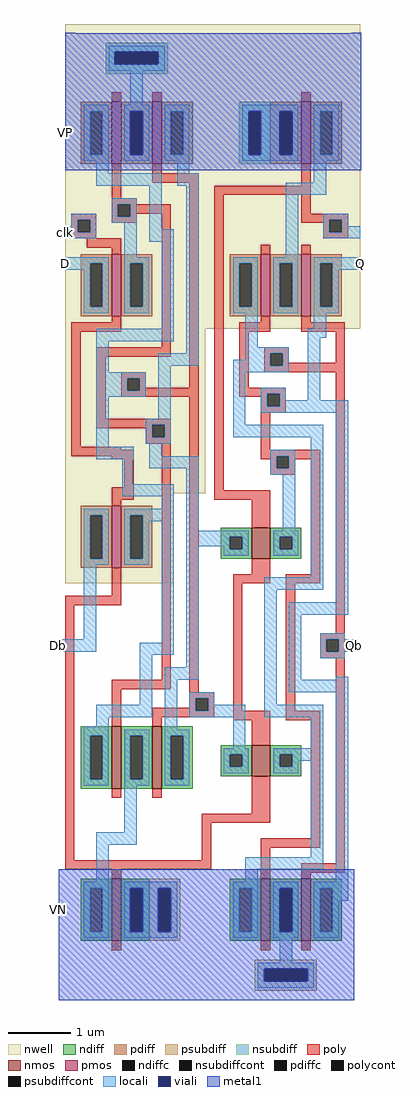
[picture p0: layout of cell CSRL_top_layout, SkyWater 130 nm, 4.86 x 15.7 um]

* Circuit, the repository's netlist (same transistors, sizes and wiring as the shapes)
* SPICE3 file created from CSRL_top_layout.ext - technology: sky130A

.subckt CSRL D Db clk Qb Q VP VN
X0 VN clk a_n100_n950# VN sky130_fd_pr__nfet_01v8 ad=9.5e+11p pd=5.9e+06u as=1e+12p ps=6e+06u w=1e+06u l=150000u
X1 a_n100_n460# clk Db VP sky130_fd_pr__pfet_01v8 ad=1e+12p pd=6e+06u as=5e+11p ps=3e+06u w=1e+06u l=150000u
X2 VN Q Qb VN sky130_fd_pr__nfet_01v8 ad=0p pd=0u as=7.5e+11p ps=5e+06u w=1e+06u l=150000u
X3 a_n50_700# clk D VP sky130_fd_pr__pfet_01v8 ad=1e+12p pd=6e+06u as=5e+11p ps=3e+06u w=1e+06u l=150000u
X4 a_510_1060# Q Qb VP sky130_fd_pr__pfet_01v8 ad=1e+12p pd=6e+06u as=5e+11p ps=3e+06u w=1e+06u l=150000u
X5 a_510_1060# clk VP VP sky130_fd_pr__pfet_01v8 ad=0p pd=0u as=1e+12p ps=6e+06u w=1e+06u l=150000u
X6 a_n100_n950# a_n50_700# a_n100_n460# VN sky130_fd_pr__nfet_01v8 ad=0p pd=0u as=7.5e+11p ps=5e+06u w=1e+06u l=150000u
X7 a_n50_700# a_n100_n460# VP VP sky130_fd_pr__pfet_01v8 ad=0p pd=0u as=0p ps=0u w=1e+06u l=150000u
X8 Q Qb VN VN sky130_fd_pr__nfet_01v8 ad=7.5e+11p pd=5e+06u as=0p ps=0u w=1e+06u l=150000u
X9 Q clk a_n50_700# VN sky130_fd_pr__nfet_01v8 ad=0p pd=0u as=7.5e+11p ps=5e+06u w=500000u l=300000u
X10 Q Qb a_510_1060# VP sky130_fd_pr__pfet_01v8 ad=5e+11p pd=3e+06u as=0p ps=0u w=1e+06u l=150000u
X11 a_n50_700# a_n100_n460# a_n100_n950# VN sky130_fd_pr__nfet_01v8 ad=0p pd=0u as=0p ps=0u w=1e+06u l=150000u
X12 Qb clk a_n100_n460# VN sky130_fd_pr__nfet_01v8 ad=0p pd=0u as=0p ps=0u w=500000u l=300000u
X13 VP a_n50_700# a_n100_n460# VP sky130_fd_pr__pfet_01v8 ad=0p pd=0u as=0p ps=0u w=1e+06u l=150000u
.ends


* Top level circuit CSRL_top_layout

XCSRL_0 D Db clk Qb Q VP VN CSRL
.end

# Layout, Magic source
magic
tech sky130A
<< locali >>
rect 15 1225 25 1245
rect 15 1175 45 1195
rect 465 1175 490 1195
rect 5 560 30 580
rect 465 560 480 580
<< metal1 >>
rect 15 1335 35 1445
rect 5 95 35 195
use CSRL  CSRL_0 ~/Documents/Mini_Project_2/CSRL/layout
transform 1 0 90 0 1 570
box -85 -570 401 1000
<< labels >>
rlabel metal1 5 145 5 145 7 VN
rlabel locali 5 570 5 570 7 Db
rlabel locali 15 1185 15 1185 7 D
rlabel locali 15 1235 15 1235 7 clk
rlabel metal1 15 1395 15 1395 7 VP
rlabel locali 490 1185 490 1185 3 Q
rlabel locali 480 570 480 570 3 Qb
<< end >>

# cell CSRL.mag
magic
tech sky130A
<< nwell >>
rect -75 986 400 1000
rect -75 765 401 986
rect -75 510 400 765
rect -75 245 150 510
rect -75 100 100 245
<< nmos >>
rect 225 140 255 190
rect 0 -230 15 -130
rect 65 -230 80 -130
rect 225 -210 255 -160
rect 0 -475 15 -375
rect 240 -475 255 -375
rect 305 -475 320 -375
<< pmos >>
rect 0 775 15 875
rect 65 775 80 875
rect 305 775 320 875
rect 0 530 15 630
rect 0 125 15 225
rect 240 530 255 630
rect 305 530 320 630
<< ndiff >>
rect 175 175 225 190
rect 175 155 190 175
rect 210 155 225 175
rect 175 140 225 155
rect 255 175 305 190
rect 255 155 270 175
rect 290 155 305 175
rect 255 140 305 155
rect -50 -145 0 -130
rect -50 -215 -35 -145
rect -15 -215 0 -145
rect -50 -230 0 -215
rect 15 -145 65 -130
rect 15 -215 30 -145
rect 50 -215 65 -145
rect 15 -230 65 -215
rect 80 -145 130 -130
rect 80 -215 95 -145
rect 115 -215 130 -145
rect 175 -175 225 -160
rect 175 -195 190 -175
rect 210 -195 225 -175
rect 175 -210 225 -195
rect 255 -175 305 -160
rect 255 -195 270 -175
rect 290 -195 305 -175
rect 255 -210 305 -195
rect 80 -230 130 -215
rect -50 -390 0 -375
rect -50 -460 -35 -390
rect -15 -460 0 -390
rect -50 -475 0 -460
rect 15 -390 60 -375
rect 15 -460 30 -390
rect 50 -460 60 -390
rect 15 -475 60 -460
rect 190 -390 240 -375
rect 190 -460 205 -390
rect 225 -460 240 -390
rect 190 -475 240 -460
rect 255 -390 305 -375
rect 255 -460 270 -390
rect 290 -460 305 -390
rect 255 -475 305 -460
rect 320 -390 370 -375
rect 320 -460 335 -390
rect 355 -460 370 -390
rect 320 -475 370 -460
<< pdiff >>
rect -50 860 0 875
rect -50 790 -35 860
rect -15 790 0 860
rect -50 775 0 790
rect 15 860 65 875
rect 15 790 30 860
rect 50 790 65 860
rect 15 775 65 790
rect 80 860 130 875
rect 80 790 95 860
rect 115 790 130 860
rect 80 775 130 790
rect 255 860 305 875
rect 255 790 270 860
rect 290 790 305 860
rect 255 775 305 790
rect 320 860 370 875
rect 320 790 335 860
rect 355 790 370 860
rect 320 775 370 790
rect -50 615 0 630
rect -50 545 -35 615
rect -15 545 0 615
rect -50 530 0 545
rect 15 615 65 630
rect 15 545 30 615
rect 50 545 65 615
rect 15 530 65 545
rect -50 210 0 225
rect -50 140 -35 210
rect -15 140 0 210
rect -50 125 0 140
rect 15 210 65 225
rect 15 140 30 210
rect 50 140 65 210
rect 15 125 65 140
rect 190 615 240 630
rect 190 545 205 615
rect 225 545 240 615
rect 190 530 240 545
rect 255 615 305 630
rect 255 545 270 615
rect 290 545 305 615
rect 255 530 305 545
rect 320 615 370 630
rect 320 545 335 615
rect 355 545 370 615
rect 320 530 370 545
<< ndiffc >>
rect 190 155 210 175
rect 270 155 290 175
rect -35 -215 -15 -145
rect 30 -215 50 -145
rect 95 -215 115 -145
rect 190 -195 210 -175
rect 270 -195 290 -175
rect -35 -460 -15 -390
rect 30 -460 50 -390
rect 205 -460 225 -390
rect 270 -460 290 -390
rect 335 -460 355 -390
<< pdiffc >>
rect -35 790 -15 860
rect 30 790 50 860
rect 95 790 115 860
rect 270 790 290 860
rect 335 790 355 860
rect -35 545 -15 615
rect 30 545 50 615
rect -35 140 -15 210
rect 30 140 50 210
rect 205 545 225 615
rect 270 545 290 615
rect 335 545 355 615
<< psubdiff >>
rect 60 -390 110 -375
rect 60 -460 75 -390
rect 95 -460 110 -390
rect 60 -475 110 -460
rect 230 -520 330 -505
rect 230 -540 245 -520
rect 315 -540 330 -520
rect 230 -555 330 -540
<< nsubdiff >>
rect -10 955 90 970
rect -10 935 5 955
rect 75 935 90 955
rect -10 920 90 935
rect 205 860 255 875
rect 205 790 220 860
rect 240 790 255 860
rect 205 775 255 790
<< psubdiffcont >>
rect 75 -460 95 -390
rect 245 -540 315 -520
<< nsubdiffcont >>
rect 5 935 75 955
rect 220 790 240 860
<< poly >>
rect 0 875 15 890
rect 65 875 80 890
rect 305 875 320 890
rect 0 720 15 775
rect 65 760 80 775
rect 65 745 140 760
rect 0 710 40 720
rect -65 685 -25 695
rect -65 665 -55 685
rect -35 665 -25 685
rect 0 690 10 710
rect 30 695 95 710
rect 30 690 40 695
rect 0 680 40 690
rect -65 655 -25 665
rect -40 640 15 655
rect 0 630 15 640
rect 0 520 15 530
rect -65 505 15 520
rect -65 320 -50 505
rect 80 480 95 695
rect -25 465 95 480
rect -25 365 -10 465
rect 15 430 55 440
rect 15 410 25 430
rect 45 415 55 430
rect 125 415 140 745
rect 305 740 320 775
rect 45 410 140 415
rect 15 400 140 410
rect -25 355 95 365
rect -25 350 65 355
rect 55 335 65 350
rect 85 335 95 355
rect 55 325 95 335
rect -65 315 15 320
rect -65 305 35 315
rect 0 300 35 305
rect 20 255 35 300
rect 0 235 35 255
rect 0 225 15 235
rect 0 80 15 125
rect -75 65 15 80
rect -75 -345 -60 65
rect 80 -55 95 325
rect 0 -70 95 -55
rect 0 -130 15 -70
rect 125 -75 140 400
rect 165 725 320 740
rect 165 250 180 725
rect 305 695 320 725
rect 305 685 380 695
rect 305 680 350 685
rect 340 665 350 680
rect 370 665 380 685
rect 340 655 380 665
rect 240 630 255 645
rect 305 630 320 645
rect 240 520 255 530
rect 205 505 255 520
rect 305 520 320 530
rect 305 505 375 520
rect 205 415 220 505
rect 245 470 285 480
rect 245 450 255 470
rect 275 455 285 470
rect 360 455 375 505
rect 275 450 375 455
rect 245 440 375 450
rect 205 405 280 415
rect 205 400 250 405
rect 240 385 250 400
rect 270 385 280 405
rect 240 375 280 385
rect 240 315 255 375
rect 240 305 335 315
rect 240 300 265 305
rect 255 285 265 300
rect 285 300 335 305
rect 285 285 295 300
rect 255 275 295 285
rect 165 235 255 250
rect 225 190 255 235
rect 225 115 255 140
rect 320 115 335 300
rect 195 100 255 115
rect 280 100 335 115
rect 125 -85 165 -75
rect 125 -100 135 -85
rect 65 -105 135 -100
rect 155 -105 165 -85
rect 65 -115 165 -105
rect 195 -105 210 100
rect 280 -105 295 100
rect 360 20 375 440
rect 335 10 375 20
rect 335 -10 345 10
rect 365 -10 375 10
rect 335 -20 375 -10
rect 65 -130 80 -115
rect 195 -120 255 -105
rect 280 -120 335 -105
rect 225 -160 255 -120
rect 0 -245 15 -230
rect 65 -245 80 -230
rect 225 -270 255 -210
rect 145 -285 255 -270
rect 145 -345 160 -285
rect 320 -310 335 -120
rect -75 -360 160 -345
rect 240 -325 335 -310
rect 0 -375 15 -360
rect 240 -375 255 -325
rect 360 -350 375 -20
rect 305 -365 375 -350
rect 305 -375 320 -365
rect 0 -490 15 -475
rect 240 -490 255 -475
rect 305 -490 320 -475
<< polycont >>
rect -55 665 -35 685
rect 10 690 30 710
rect 25 410 45 430
rect 65 335 85 355
rect 350 665 370 685
rect 255 450 275 470
rect 250 385 270 405
rect 265 285 285 305
rect 135 -105 155 -85
rect 345 -10 365 10
<< locali >>
rect -5 955 85 965
rect -5 935 5 955
rect 75 935 85 955
rect -5 925 85 935
rect 30 870 50 925
rect -45 860 -5 870
rect -45 790 -35 860
rect -15 790 -5 860
rect -45 780 -5 790
rect 20 860 60 870
rect 20 790 30 860
rect 50 790 60 860
rect 20 780 60 790
rect 85 860 125 870
rect 85 790 95 860
rect 115 790 125 860
rect 85 780 125 790
rect 210 860 300 870
rect 210 790 220 860
rect 240 790 270 860
rect 290 790 300 860
rect 210 780 300 790
rect 325 860 365 870
rect 325 790 335 860
rect 355 790 365 860
rect 325 780 365 790
rect -25 760 -5 780
rect 105 760 125 780
rect -25 740 80 760
rect 105 740 140 760
rect 325 745 345 780
rect 0 710 40 720
rect -65 685 -25 695
rect -65 675 -55 685
rect -75 665 -55 675
rect -35 665 -25 685
rect 0 690 10 710
rect 30 690 40 710
rect 0 680 40 690
rect -75 655 -25 665
rect 20 625 40 680
rect 60 670 80 740
rect 60 650 100 670
rect -75 615 -5 625
rect -75 605 -35 615
rect -45 545 -35 605
rect -15 545 -5 615
rect -45 535 -5 545
rect 20 615 60 625
rect 20 545 30 615
rect 50 545 60 615
rect 20 535 60 545
rect 80 510 100 650
rect -25 490 100 510
rect -25 440 -5 490
rect 120 470 140 740
rect 280 725 345 745
rect 280 625 300 725
rect 340 685 380 695
rect 340 665 350 685
rect 370 675 380 685
rect 370 665 400 675
rect 340 655 400 665
rect 195 615 235 625
rect 195 545 205 615
rect 225 545 235 615
rect 195 535 235 545
rect 260 615 300 625
rect 260 545 270 615
rect 290 545 300 615
rect 260 535 300 545
rect 325 615 400 625
rect 325 545 335 615
rect 355 605 400 615
rect 355 545 365 605
rect 325 535 365 545
rect 75 450 140 470
rect 215 480 235 535
rect 325 510 345 535
rect 315 495 345 510
rect 215 470 285 480
rect 215 460 255 470
rect 195 450 255 460
rect 275 450 285 470
rect -25 430 55 440
rect -25 410 25 430
rect 45 410 55 430
rect -25 400 55 410
rect -25 320 -5 400
rect 75 365 95 450
rect 55 355 95 365
rect 55 335 65 355
rect 85 335 95 355
rect 195 440 285 450
rect 195 355 215 440
rect 240 405 280 415
rect 240 385 250 405
rect 270 395 280 405
rect 315 395 335 495
rect 270 385 380 395
rect 240 375 380 385
rect 195 335 340 355
rect 55 325 95 335
rect -25 300 35 320
rect 60 305 80 325
rect 255 305 295 315
rect 17 260 34 300
rect 60 285 140 305
rect 17 240 100 260
rect 80 220 100 240
rect -45 210 -5 220
rect -45 140 -35 210
rect -15 140 -5 210
rect -45 130 -5 140
rect 20 210 100 220
rect 20 140 30 210
rect 50 200 100 210
rect 50 140 60 200
rect 20 130 60 140
rect -45 10 -25 130
rect -85 -10 -25 10
rect 80 5 100 200
rect 45 -15 100 5
rect 120 185 140 285
rect 255 285 265 305
rect 285 285 295 305
rect 255 275 295 285
rect 275 185 295 275
rect 120 175 220 185
rect 120 160 190 175
rect 45 -95 65 -15
rect 120 -35 140 160
rect 180 155 190 160
rect 210 155 220 175
rect 180 145 220 155
rect 260 175 300 185
rect 260 155 270 175
rect 290 155 300 175
rect 260 145 300 155
rect 320 110 340 335
rect -25 -115 65 -95
rect 85 -55 140 -35
rect 245 90 340 110
rect -25 -130 -5 -115
rect -45 -145 -5 -130
rect 85 -135 105 -55
rect 125 -85 165 -75
rect 125 -105 135 -85
rect 155 -95 165 -85
rect 245 -95 265 90
rect 360 70 380 375
rect 285 50 380 70
rect 285 -55 305 50
rect 335 10 375 20
rect 335 -10 345 10
rect 365 -10 390 10
rect 335 -20 375 -10
rect 360 -55 380 -50
rect 285 -75 380 -55
rect 155 -105 215 -95
rect 125 -115 215 -105
rect 245 -115 340 -95
rect -45 -215 -35 -145
rect -15 -215 -5 -145
rect -45 -225 -5 -215
rect 20 -145 60 -135
rect 20 -215 30 -145
rect 50 -215 60 -145
rect 20 -225 60 -215
rect 85 -145 125 -135
rect 85 -215 95 -145
rect 115 -215 125 -145
rect 195 -165 215 -115
rect 320 -165 340 -115
rect 180 -175 220 -165
rect 180 -195 190 -175
rect 210 -195 220 -175
rect 180 -205 220 -195
rect 260 -175 340 -165
rect 260 -195 270 -175
rect 290 -185 340 -175
rect 290 -195 300 -185
rect 260 -205 300 -195
rect 85 -225 125 -215
rect 20 -300 40 -225
rect -25 -320 40 -300
rect -25 -380 -5 -320
rect 320 -340 340 -185
rect 215 -360 340 -340
rect 215 -380 235 -360
rect 360 -380 380 -75
rect -45 -390 -5 -380
rect -45 -460 -35 -390
rect -15 -460 -5 -390
rect -45 -470 -5 -460
rect 20 -390 105 -380
rect 20 -460 30 -390
rect 50 -460 75 -390
rect 95 -460 105 -390
rect 20 -470 105 -460
rect 195 -390 235 -380
rect 195 -460 205 -390
rect 225 -460 235 -390
rect 195 -470 235 -460
rect 260 -390 300 -380
rect 260 -460 270 -390
rect 290 -460 300 -390
rect 260 -470 300 -460
rect 325 -390 380 -380
rect 325 -460 335 -390
rect 355 -410 380 -390
rect 355 -460 365 -410
rect 325 -470 365 -460
rect 270 -510 290 -470
rect 235 -520 325 -510
rect 235 -540 245 -520
rect 315 -540 325 -520
rect 235 -550 325 -540
<< viali >>
rect 5 935 75 955
rect 30 790 50 860
rect 220 790 240 860
rect 270 790 290 860
rect 30 -460 50 -390
rect 75 -460 95 -390
rect 270 -460 290 -390
rect 245 -540 315 -520
<< metal1 >>
rect -75 985 -59 986
rect 385 985 401 986
rect -75 955 401 985
rect -75 935 5 955
rect 75 935 401 955
rect -75 860 401 935
rect -75 790 30 860
rect 50 790 220 860
rect 240 790 270 860
rect 290 790 401 860
rect -75 765 401 790
rect -85 -390 390 -360
rect -85 -460 30 -390
rect 50 -460 75 -390
rect 95 -460 270 -390
rect 290 -460 390 -390
rect -85 -520 390 -460
rect -85 -540 245 -520
rect 315 -540 390 -520
rect -85 -570 390 -540
<< labels >>
rlabel locali -75 615 -75 615 7 D
port 1 w
rlabel locali -85 0 -85 0 7 Db
port 3 w
rlabel locali 390 0 390 0 3 Qb
port 9 e
rlabel locali -75 665 -75 665 7 clk
port 4 w
rlabel locali 400 615 400 615 3 Q
port 10 e
rlabel metal1 -75 825 -75 825 7 VP
port 11 w
rlabel metal1 -85 -425 -85 -425 7 VN
port 12 w
<< end >>
